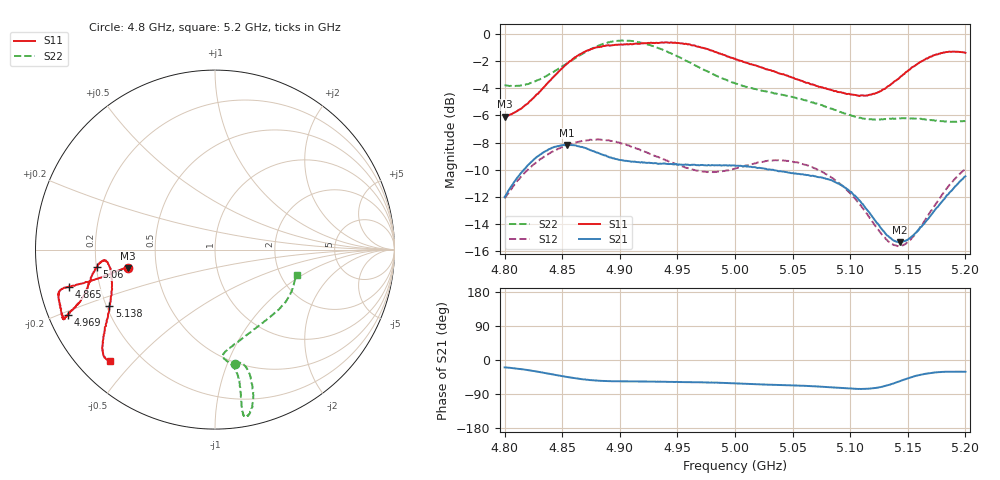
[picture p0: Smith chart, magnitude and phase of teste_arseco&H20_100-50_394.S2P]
! Network Analyzer HP8722D
! Hewlett-Packard
! Data name: Linha & Wilkinson
! Saver's name: Rodrigo Anjos
! Comments: Teste da utilização de aquisição
! continua pelo VNA HP8722D
! Time and date: 6/5/2025 15:51
!  Frequency  S11  S21  S12  S22
# HZ  S  MA R 50
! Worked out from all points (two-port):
!   401 points, 4.8 GHz to 5.2 GHz, reference 50 ohm
!   highest |S21| = -8.18 dB at 4.854 GHz (marker M1); lowest = -15.3 dB at 5.143 GHz (marker M2)
!   |S21| within 3 dB of the highest: 4.806 GHz to 5.093 GHz (287 MHz wide, 5.8 % of centre); 5.191769 GHz to end of sweep
!   lowest |S11| = -6.1 dB at 4.8 GHz (marker M3), VSWR 2.97, Z = 17 - j4.61 ohm
!   |S11| at or under -10 dB: nowhere
!   |S22| runs from -6.5 to -0.5 dB; largest |S21 - S12| = 0.62
!   S11 on the Smith chart (normalised r, x): 4.8 GHz: 0.34, -0.09; 4.865 GHz: 0.09, -0.12; 4.969 GHz: 0.06, -0.21; 5.06 GHz: 0.20, -0.07; 5.138 GHz: 0.21, -0.24; 5.2 GHz: 0.09, -0.43
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4.8e9  0.4965 -168.1  0.2512 -19.6  0.2481 -140.7  0.6472 -80.3
4.827e9  0.5926 -167.0  0.3499 -29.7  0.3353 -144.3  0.6707 -75.5
4.854e9  0.776 -165.7  0.3901 -44.8  0.3892 -149.6  0.7787 -74.6
4.865e9  0.8402 -165.8  0.3851 -49.7  0.4018 -151.5  0.8324 -75.2
4.867e9  0.8486 -165.7  0.3839 -50.6  0.4034 -151.8  0.8426 -75.3
4.879e9  0.8902 -165.4  0.3672 -54.2  0.408 -153.9  0.8949 -76.6
4.898e9  0.9127 -162.8  0.3456 -56.1  0.3983 -156.3  0.9424 -78.7
4.913e9  0.9194 -159.7  0.3389 -56.4  0.3814 -156.9  0.9379 -80.1
4.934e9  0.9259 -156.2  0.3327 -57.4  0.3515 -155.5  0.8842 -80.4
4.969e9  0.8951 -156.0  0.3282 -58.9  0.313 -147.2  0.7525 -79.6
5e9  0.8103 -158.7  0.3275 -61.7  0.3197 -137.1  0.6583 -81.3
5.036e9  0.7227 -165.4  0.3141 -65.8  0.3426 -134.2  0.6027 -85.6
5.06e9  0.6656 -171.6  0.3031 -68.0  0.3306 -135.9  0.5706 -84.2
5.067e9  0.6522 -172.9  0.3007 -69.0  0.3235 -136.6  0.5596 -82.6
5.099e9  0.6021 -172.5  0.2652 -75.4  0.2617 -138.7  0.5031 -68.0
5.116e9  0.5959 -165.6  0.2217 -75.7  0.213 -135.5  0.4856 -55.8
5.134e9  0.6452 -154.3  0.1785 -65.4  0.1712 -120.9  0.4877 -43.3
5.138e9  0.6668 -151.9  0.1735 -61.4  0.167 -115.7  0.4869 -40.9
5.143e9  0.6913 -149.2  0.1711 -56.0  0.1657 -109.1  0.4886 -38.1
5.154e9  0.7544 -144.4  0.1806 -44.4  0.1785 -95.1  0.4883 -32.3
5.171e9  0.8269 -139.3  0.2175 -33.9  0.2253 -81.6  0.4817 -24.8
5.2e9  0.8515 -133.4  0.2993 -31.2  0.3183 -76.7  0.4779 -17.5
